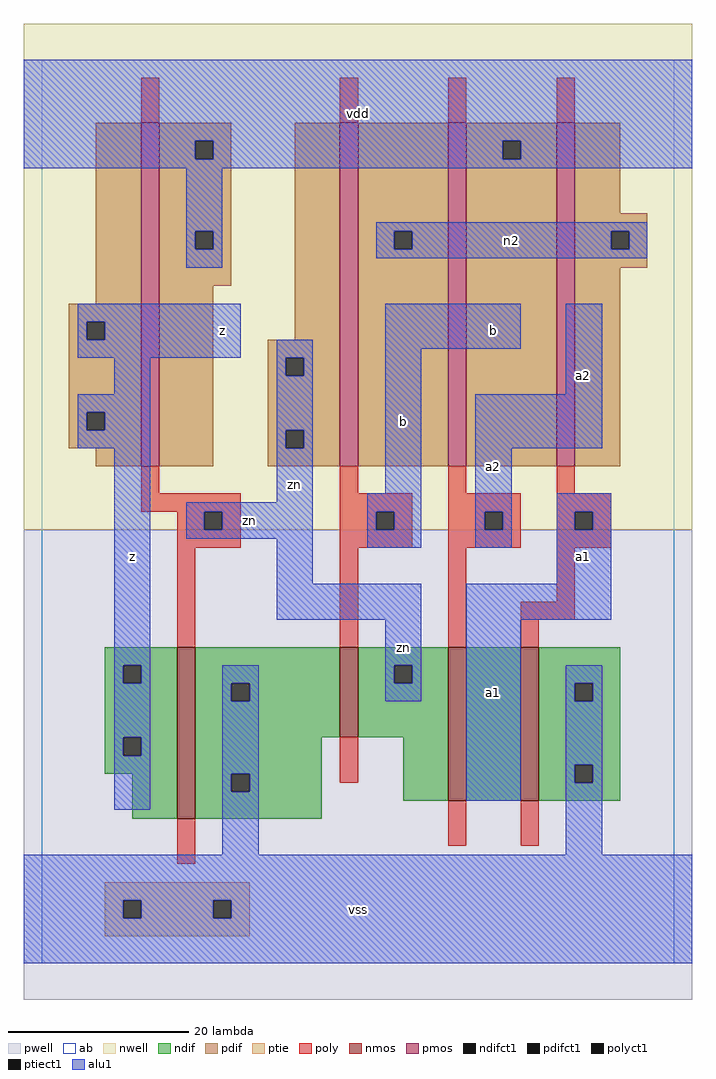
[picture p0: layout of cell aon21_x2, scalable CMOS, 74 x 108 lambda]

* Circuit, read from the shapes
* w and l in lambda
.subckt aon21_x2 a1 a2 b n2 vdd vss z zn
M1 vss zn z vss nfet w=19 l=2
M2 zn b vss vss nfet w=10 l=2
M3 n1 a2 zn vss nfet w=17 l=2
M4 vss a1 n1 vss nfet w=17 l=2
M5 vdd zn z n3 pfet w=38 l=2
M6 n2 b zn n3 pfet w=38 l=2
M7 vdd a2 n2 n3 pfet w=38 l=2
M8 n2 a1 vdd n3 pfet w=38 l=2
.ends

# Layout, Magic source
magic
tech scmos
<< ab >>
rect 0 0 70 100
<< nwell >>
rect -2 48 72 104
<< pwell >>
rect -2 -4 72 48
<< poly >>
rect 11 93 13 98
rect 33 93 35 98
rect 45 93 47 98
rect 57 93 59 98
rect 11 52 13 55
rect 33 52 35 55
rect 45 52 47 55
rect 57 52 59 55
rect 11 50 22 52
rect 15 48 18 50
rect 20 48 22 50
rect 15 46 22 48
rect 33 50 41 52
rect 33 48 37 50
rect 39 48 41 50
rect 33 46 41 48
rect 45 50 53 52
rect 45 48 49 50
rect 51 48 53 50
rect 45 46 53 48
rect 57 50 63 52
rect 57 48 59 50
rect 61 48 63 50
rect 57 46 63 48
rect 15 35 17 46
rect 33 35 35 46
rect 45 35 47 46
rect 57 40 59 46
rect 53 38 59 40
rect 53 35 55 38
rect 33 20 35 25
rect 15 11 17 16
rect 45 13 47 18
rect 53 13 55 18
<< ndif >>
rect 7 33 15 35
rect 7 31 9 33
rect 11 31 15 33
rect 7 25 15 31
rect 7 23 9 25
rect 11 23 15 25
rect 7 21 15 23
rect 10 16 15 21
rect 17 31 33 35
rect 17 29 21 31
rect 23 29 33 31
rect 17 25 33 29
rect 35 33 45 35
rect 35 31 39 33
rect 41 31 45 33
rect 35 25 45 31
rect 17 21 31 25
rect 17 19 21 21
rect 23 19 31 21
rect 17 16 31 19
rect 40 18 45 25
rect 47 18 53 35
rect 55 31 64 35
rect 55 29 59 31
rect 61 29 64 31
rect 55 22 64 29
rect 55 20 59 22
rect 61 20 64 22
rect 55 18 64 20
<< pdif >>
rect 6 73 11 93
rect 3 71 11 73
rect 3 69 5 71
rect 7 69 11 71
rect 3 61 11 69
rect 3 59 5 61
rect 7 59 11 61
rect 3 57 11 59
rect 6 55 11 57
rect 13 91 21 93
rect 13 89 17 91
rect 19 89 21 91
rect 13 81 21 89
rect 13 79 17 81
rect 19 79 21 81
rect 13 75 21 79
rect 13 55 19 75
rect 28 69 33 93
rect 25 67 33 69
rect 25 65 27 67
rect 29 65 33 67
rect 25 59 33 65
rect 25 57 27 59
rect 29 57 33 59
rect 25 55 33 57
rect 35 81 45 93
rect 35 79 39 81
rect 41 79 45 81
rect 35 55 45 79
rect 47 91 57 93
rect 47 89 51 91
rect 53 89 57 91
rect 47 55 57 89
rect 59 83 64 93
rect 59 81 67 83
rect 59 79 63 81
rect 65 79 67 81
rect 59 77 67 79
rect 59 55 64 77
<< alu1 >>
rect -2 91 72 100
rect -2 89 17 91
rect 19 89 51 91
rect 53 89 72 91
rect -2 88 72 89
rect 16 81 20 88
rect 16 79 17 81
rect 19 79 20 81
rect 16 77 20 79
rect 37 81 67 82
rect 37 79 39 81
rect 41 79 63 81
rect 65 79 67 81
rect 37 78 67 79
rect 4 71 22 73
rect 4 69 5 71
rect 7 69 22 71
rect 4 67 22 69
rect 26 67 30 69
rect 8 63 12 67
rect 4 61 12 63
rect 4 59 5 61
rect 7 59 12 61
rect 4 57 12 59
rect 8 33 12 57
rect 26 65 27 67
rect 29 65 30 67
rect 26 59 30 65
rect 26 57 27 59
rect 29 57 30 59
rect 26 51 30 57
rect 38 68 53 73
rect 38 52 42 68
rect 58 63 62 73
rect 16 50 30 51
rect 16 48 18 50
rect 20 48 30 50
rect 16 47 30 48
rect 26 42 30 47
rect 36 50 42 52
rect 36 48 37 50
rect 39 48 42 50
rect 36 46 42 48
rect 48 57 62 63
rect 48 50 52 57
rect 48 48 49 50
rect 51 48 52 50
rect 48 46 52 48
rect 57 50 63 52
rect 57 48 59 50
rect 61 48 63 50
rect 57 42 63 48
rect 26 38 42 42
rect 38 33 42 38
rect 8 31 9 33
rect 11 31 12 33
rect 8 25 12 31
rect 8 23 9 25
rect 11 23 12 25
rect 8 17 12 23
rect 20 31 24 33
rect 20 29 21 31
rect 23 29 24 31
rect 38 31 39 33
rect 41 31 42 33
rect 38 29 42 31
rect 47 38 63 42
rect 20 21 24 29
rect 20 19 21 21
rect 23 19 24 21
rect 20 12 24 19
rect 47 18 53 38
rect 58 31 62 33
rect 58 29 59 31
rect 61 29 62 31
rect 58 22 62 29
rect 58 20 59 22
rect 61 20 62 22
rect 58 12 62 20
rect -2 7 72 12
rect -2 5 9 7
rect 11 5 19 7
rect 21 5 72 7
rect -2 0 72 5
<< ptie >>
rect 7 7 23 9
rect 7 5 9 7
rect 11 5 19 7
rect 21 5 23 7
rect 7 3 23 5
<< nmos >>
rect 15 16 17 35
rect 33 25 35 35
rect 45 18 47 35
rect 53 18 55 35
<< pmos >>
rect 11 55 13 93
rect 33 55 35 93
rect 45 55 47 93
rect 57 55 59 93
<< polyct1 >>
rect 18 48 20 50
rect 37 48 39 50
rect 49 48 51 50
rect 59 48 61 50
<< ndifct1 >>
rect 9 31 11 33
rect 9 23 11 25
rect 21 29 23 31
rect 39 31 41 33
rect 21 19 23 21
rect 59 29 61 31
rect 59 20 61 22
<< ptiect1 >>
rect 9 5 11 7
rect 19 5 21 7
<< pdifct1 >>
rect 5 69 7 71
rect 5 59 7 61
rect 17 89 19 91
rect 17 79 19 81
rect 27 65 29 67
rect 27 57 29 59
rect 39 79 41 81
rect 51 89 53 91
rect 63 79 65 81
<< labels >>
rlabel alu1 10 45 10 45 6 z
rlabel alu1 20 70 20 70 6 z
rlabel alu1 35 6 35 6 6 vss
rlabel alu1 23 49 23 49 6 zn
rlabel alu1 28 53 28 53 6 zn
rlabel alu1 35 94 35 94 6 vdd
rlabel alu1 50 30 50 30 6 a1
rlabel alu1 40 35 40 35 6 zn
rlabel alu1 50 55 50 55 6 a2
rlabel alu1 40 60 40 60 6 b
rlabel alu1 50 70 50 70 6 b
rlabel alu1 60 45 60 45 6 a1
rlabel alu1 60 65 60 65 6 a2
rlabel alu1 52 80 52 80 6 n2
<< end >>
